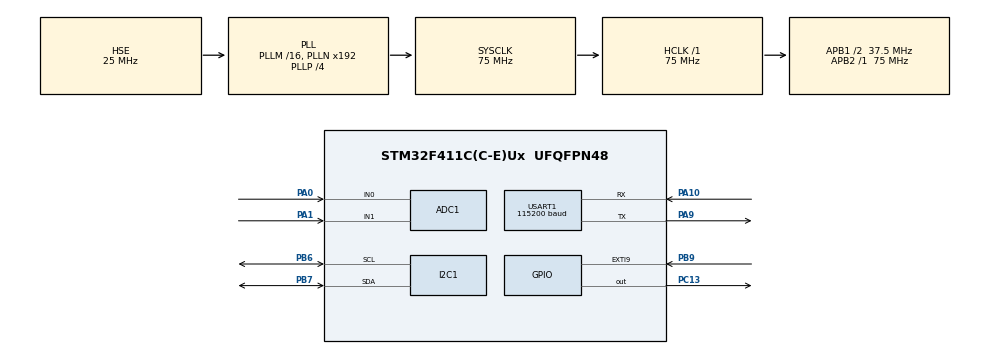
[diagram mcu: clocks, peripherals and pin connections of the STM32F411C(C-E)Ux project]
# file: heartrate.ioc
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ADC1.Channel-0\#ChannelRegularConversion=ADC_CHANNEL_0
ADC1.Channel-1\#ChannelRegularConversion=ADC_CHANNEL_1
ADC1.ContinuousConvMode=ENABLE
ADC1.NbrOfConversion=2
ADC1.NbrOfConversionFlag=1
ADC1.Rank-0\#ChannelRegularConversion=1
ADC1.Rank-1\#ChannelRegularConversion=2
ADC1.SamplingTime-0\#ChannelRegularConversion=ADC_SAMPLETIME_3CYCLES
ADC1.SamplingTime-1\#ChannelRegularConversion=ADC_SAMPLETIME_15CYCLES
ADC1.ScanConvMode=ENABLE
ADC1.master=1
I2C1.I2C_Mode=I2C_Standard
Mcu.Family=STM32F4
Mcu.Name=STM32F411C(C-E)Ux
Mcu.Package=UFQFPN48
NVIC.I2C1_ER_IRQn=true\:0\:0\:false\:false\:true\:true\:true\:true
NVIC.I2C1_EV_IRQn=true\:0\:0\:false\:false\:true\:true\:true\:true
NVIC.PriorityGroup=NVIC_PRIORITYGROUP_4
NVIC.USART1_IRQn=true\:0\:0\:false\:false\:true\:true\:true\:true
PA0-WKUP.Signal=ADCx_IN0
PA1.Signal=ADCx_IN1
PA10.Mode=Asynchronous
PA10.Signal=USART1_RX
PA9.Mode=Asynchronous
PA9.Signal=USART1_TX
PB6.Mode=I2C
PB6.Signal=I2C1_SCL
PB7.Mode=I2C
PB7.Signal=I2C1_SDA
PB9.Signal=GPXTI9
PC13-ANTI_TAMP.Signal=GPIO_Output
PH0\ -\ OSC_IN.Mode=HSE-External-Oscillator
PH0\ -\ OSC_IN.Signal=RCC_OSC_IN
PH1\ -\ OSC_OUT.Mode=HSE-External-Oscillator
PH1\ -\ OSC_OUT.Signal=RCC_OSC_OUT
ProjectManager.HeapSize=0x200
ProjectManager.StackSize=0x400
ProjectManager.TargetToolchain=STM32CubeIDE
RCC.48MHZClocksFreq_Value=75000000
RCC.AHBFreq_Value=75000000
RCC.APB1CLKDivider=RCC_HCLK_DIV2
RCC.APB1Freq_Value=37500000
RCC.APB1TimFreq_Value=75000000
RCC.APB2Freq_Value=75000000
RCC.APB2TimFreq_Value=75000000
RCC.CortexFreq_Value=75000000
RCC.HCLKFreq_Value=75000000
RCC.HSE_VALUE=25000000
RCC.HSI_VALUE=16000000
RCC.LSE_VALUE=32768
RCC.PLLP=RCC_PLLP_DIV4
RCC.PLLSourceVirtual=RCC_PLLSOURCE_HSE
RCC.SYSCLKFreq_VALUE=75000000
RCC.SYSCLKSource=RCC_SYSCLKSOURCE_PLLCLK
RCC.VCOOutputFreq_Value=300000000
SH.ADCx_IN0.0=ADC1_IN0,IN0
SH.ADCx_IN1.0=ADC1_IN1,IN1
USART1.BaudRate=115200
USART1.VirtualMode=VM_ASYNC
board=custom

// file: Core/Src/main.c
/* USER CODE BEGIN Header */
/**
  ******************************************************************************
  * @file           : main.c
  * @brief          : Main program body
  ******************************************************************************
  * @attention
  *
  * Copyright (c) 2024 STMicroelectronics.
  * All rights reserved.
  *
  * This software is licensed under terms that can be found in the LICENSE file
  * in the root directory of this software component.
  * If no LICENSE file comes with this software, it is provided AS-IS.
  *
  ******************************************************************************
  */
/* USER CODE END Header */
#include "main.h"

/* USER CODE BEGIN Includes */
#include <string.h>

#include <stdio.h>
#include "max30102_for_stm32_hal.h"
/* USER CODE END Includes */

ADC_HandleTypeDef hadc1;

I2C_HandleTypeDef hi2c1;

UART_HandleTypeDef huart1;

/* USER CODE BEGIN PV */
int __io_putchar(int ch)
{
  uint8_t temp = ch;
  HAL_UART_Transmit(&huart1, &temp, 1, HAL_MAX_DELAY);
  return ch;
}

// Override plot function
void max30102_plot(uint32_t ir_sample, uint32_t red_sample)
{
    // printf("ir:%u\n", ir_sample);                  // Print IR only
    // printf("r:%u\n", red_sample);                  // Print Red only
    printf("ir:%u,r:%u\n", ir_sample, red_sample); // Print IR and Red

}

// MAX30102 object
max30102_t max30102;
/* USER CODE END PV */

void SystemClock_Config(void);
static void MX_GPIO_Init(void);
static void MX_I2C1_Init(void);
static void MX_USART1_UART_Init(void);
static void MX_ADC1_Init(void);

/* USER CODE BEGIN 0 */
void ADC_Select_CH0(void){
	ADC_ChannelConfTypeDef sConfig = {0};
	  sConfig.Channel = ADC_CHANNEL_0;
	  sConfig.Rank = 1;
	  sConfig.SamplingTime = ADC_SAMPLETIME_3CYCLES;
	  if (HAL_ADC_ConfigChannel(&hadc1, &sConfig) != HAL_OK)
	  {
	    Error_Handler();
	  }

}
void ADC_Select_CH1(void){
	ADC_ChannelConfTypeDef sConfig = {0};
	 sConfig.Channel = ADC_CHANNEL_1;
	  sConfig.Rank = 2;
	  sConfig.SamplingTime = ADC_SAMPLETIME_15CYCLES;
	  if (HAL_ADC_ConfigChannel(&hadc1, &sConfig) != HAL_OK)
	  {
	    Error_Handler();
	  }

}
/* USER CODE END 0 */

int main(void)
{

  /* MCU Configuration--------------------------------------------------------*/

  /* Reset of all peripherals, Initializes the Flash interface and the Systick. */
  HAL_Init();

  /* Configure the system clock */
  SystemClock_Config();

  /* Initialize all configured peripherals */
  MX_GPIO_Init();
  MX_I2C1_Init();
  MX_USART1_UART_Init();
  MX_ADC1_Init();
  /* USER CODE BEGIN 2 */
  max30102_init(&max30102, &hi2c1);
  max30102_reset(&max30102);
  max30102_clear_fifo(&max30102);
  max30102_set_fifo_config(&max30102, max30102_smp_ave_8, 1, 7);

  // Sensor settings
  max30102_set_led_pulse_width(&max30102, max30102_pw_16_bit);
  max30102_set_adc_resolution(&max30102, max30102_adc_2048);
  max30102_set_sampling_rate(&max30102, max30102_sr_800);
  max30102_set_led_current_1(&max30102, 6.2);
  max30102_set_led_current_2(&max30102, 6.2);

  // Enter SpO2 mode
  max30102_set_mode(&max30102, max30102_spo2);
  max30102_set_a_full(&max30102, 1);

  // Initiate 1 temperature measurement
  max30102_set_die_temp_en(&max30102, 1);
  max30102_set_die_temp_rdy(&max30102, 1);

  uint8_t en_reg[2] = {0};
  max30102_read(&max30102, 0x00, en_reg, 1);
  uint16_t adc_val[2];

  /* USER CODE END 2 */

  /* Infinite loop */
  /* USER CODE BEGIN WHILE */
  while (1)
  {
	  ADC_Select_CH1();
	  	      	  	         HAL_ADC_Start(&hadc1);
	  	      	  	      	   	HAL_ADC_PollForConversion(&hadc1, 100);

	  	      	  	      	   	adc_val[2]= HAL_ADC_GetValue(&hadc1);
	  	      	  	      	   	HAL_ADC_Stop(&hadc1);
	  	      	  	      	HAL_UART_Transmit(&huart1, "GLUCOSE: ", 9, 10);
	  	      	  	      	   print_char(adc_val[1]);
	  	      	   	HAL_GPIO_TogglePin(GPIOC, GPIO_PIN_13);
	  // Get the last calculated heart rate
	  if (max30102_has_interrupt(&max30102))
	      {
	        max30102_interrupt_handler(&max30102);
	      }

	  float heartRate = max30102_get_last_heart_rate(&max30102);
	         // Get the last calculated SpO2
	         float spo2 = max30102_get_last_spO2(&max30102);

	         // Print heart rate and SpO2 to UART
	         printHeartRateAndSpO2(heartRate, spo2);

	         // Delay for a short period to avoid overwhelming the UART
	         HAL_Delay(1000);
	         ADC_Select_CH0();
	         HAL_ADC_Start(&hadc1);
	      	   	HAL_ADC_PollForConversion(&hadc1, 100);

	      	   	adc_val[1]= HAL_ADC_GetValue(&hadc1);
	      	   	HAL_ADC_Stop(&hadc1);
	      	   	temp_conv(adc_val[1]);
	      	   	HAL_Delay(1000);

    /* USER CODE END WHILE */

  }
}

void SystemClock_Config(void)
{
  RCC_OscInitTypeDef RCC_OscInitStruct = {0};
  RCC_ClkInitTypeDef RCC_ClkInitStruct = {0};

  /** Configure the main internal regulator output voltage
  */
  __HAL_RCC_PWR_CLK_ENABLE();
  __HAL_PWR_VOLTAGESCALING_CONFIG(PWR_REGULATOR_VOLTAGE_SCALE1);

  /** Initializes the RCC Oscillators according to the specified parameters
  * in the RCC_OscInitTypeDef structure.
  */
  RCC_OscInitStruct.OscillatorType = RCC_OSCILLATORTYPE_HSE;
  RCC_OscInitStruct.HSEState = RCC_HSE_ON;
  RCC_OscInitStruct.PLL.PLLState = RCC_PLL_ON;
  RCC_OscInitStruct.PLL.PLLSource = RCC_PLLSOURCE_HSE;
  RCC_OscInitStruct.PLL.PLLM = 16;
  RCC_OscInitStruct.PLL.PLLN = 192;
  RCC_OscInitStruct.PLL.PLLP = RCC_PLLP_DIV4;
  RCC_OscInitStruct.PLL.PLLQ = 4;
  if (HAL_RCC_OscConfig(&RCC_OscInitStruct) != HAL_OK)
  {
    Error_Handler();
  }

  /** Initializes the CPU, AHB and APB buses clocks
  */
  RCC_ClkInitStruct.ClockType = RCC_CLOCKTYPE_HCLK|RCC_CLOCKTYPE_SYSCLK
                              |RCC_CLOCKTYPE_PCLK1|RCC_CLOCKTYPE_PCLK2;
  RCC_ClkInitStruct.SYSCLKSource = RCC_SYSCLKSOURCE_PLLCLK;
  RCC_ClkInitStruct.AHBCLKDivider = RCC_SYSCLK_DIV1;
  RCC_ClkInitStruct.APB1CLKDivider = RCC_HCLK_DIV2;
  RCC_ClkInitStruct.APB2CLKDivider = RCC_HCLK_DIV1;

  if (HAL_RCC_ClockConfig(&RCC_ClkInitStruct, FLASH_LATENCY_2) != HAL_OK)
  {
    Error_Handler();
  }
}

static void MX_ADC1_Init(void)
{

  ADC_ChannelConfTypeDef sConfig = {0};

  /** Configure the global features of the ADC (Clock, Resolution, Data Alignment and number of conversion)
  */
  hadc1.Instance = ADC1;
  hadc1.Init.ClockPrescaler = ADC_CLOCK_SYNC_PCLK_DIV4;
  hadc1.Init.Resolution = ADC_RESOLUTION_12B;
  hadc1.Init.ScanConvMode = ENABLE;
  hadc1.Init.ContinuousConvMode = ENABLE;
  hadc1.Init.DiscontinuousConvMode = DISABLE;
  hadc1.Init.ExternalTrigConvEdge = ADC_EXTERNALTRIGCONVEDGE_NONE;
  hadc1.Init.ExternalTrigConv = ADC_SOFTWARE_START;
  hadc1.Init.DataAlign = ADC_DATAALIGN_RIGHT;
  hadc1.Init.NbrOfConversion = 2;
  hadc1.Init.DMAContinuousRequests = DISABLE;
  hadc1.Init.EOCSelection = ADC_EOC_SINGLE_CONV;
  if (HAL_ADC_Init(&hadc1) != HAL_OK)
  {
    Error_Handler();
  }

  /** Configure for the selected ADC regular channel its corresponding rank in the sequencer and its sample time.
  */
  sConfig.Channel = ADC_CHANNEL_0;
  sConfig.Rank = 1;
  sConfig.SamplingTime = ADC_SAMPLETIME_3CYCLES;
  if (HAL_ADC_ConfigChannel(&hadc1, &sConfig) != HAL_OK)
  {
    Error_Handler();
  }

  /** Configure for the selected ADC regular channel its corresponding rank in the sequencer and its sample time.
  */
  sConfig.Channel = ADC_CHANNEL_1;
  sConfig.Rank = 2;
  sConfig.SamplingTime = ADC_SAMPLETIME_15CYCLES;
  if (HAL_ADC_ConfigChannel(&hadc1, &sConfig) != HAL_OK)
  {
    Error_Handler();
  }

}

static void MX_I2C1_Init(void)
{

  hi2c1.Instance = I2C1;
  hi2c1.Init.ClockSpeed = 100000;
  hi2c1.Init.DutyCycle = I2C_DUTYCYCLE_2;
  hi2c1.Init.OwnAddress1 = 0;
  hi2c1.Init.AddressingMode = I2C_ADDRESSINGMODE_7BIT;
  hi2c1.Init.DualAddressMode = I2C_DUALADDRESS_DISABLE;
  hi2c1.Init.OwnAddress2 = 0;
  hi2c1.Init.GeneralCallMode = I2C_GENERALCALL_DISABLE;
  hi2c1.Init.NoStretchMode = I2C_NOSTRETCH_DISABLE;
  if (HAL_I2C_Init(&hi2c1) != HAL_OK)
  {
    Error_Handler();
  }

}

static void MX_USART1_UART_Init(void)
{

  huart1.Instance = USART1;
  huart1.Init.BaudRate = 115200;
  huart1.Init.WordLength = UART_WORDLENGTH_8B;
  huart1.Init.StopBits = UART_STOPBITS_1;
  huart1.Init.Parity = UART_PARITY_NONE;
  huart1.Init.Mode = UART_MODE_TX_RX;
  huart1.Init.HwFlowCtl = UART_HWCONTROL_NONE;
  huart1.Init.OverSampling = UART_OVERSAMPLING_16;
  if (HAL_UART_Init(&huart1) != HAL_OK)
  {
    Error_Handler();
  }

}

static void MX_GPIO_Init(void)
{
  GPIO_InitTypeDef GPIO_InitStruct = {0};

  /* GPIO Ports Clock Enable */
  __HAL_RCC_GPIOC_CLK_ENABLE();
  __HAL_RCC_GPIOH_CLK_ENABLE();
  __HAL_RCC_GPIOA_CLK_ENABLE();
  __HAL_RCC_GPIOB_CLK_ENABLE();

  /*Configure GPIO pin Output Level */
  HAL_GPIO_WritePin(GPIOC, GPIO_PIN_13, GPIO_PIN_RESET);

  /*Configure GPIO pin : PC13 */
  GPIO_InitStruct.Pin = GPIO_PIN_13;
  GPIO_InitStruct.Mode = GPIO_MODE_OUTPUT_PP;
  GPIO_InitStruct.Pull = GPIO_NOPULL;
  GPIO_InitStruct.Speed = GPIO_SPEED_FREQ_LOW;
  HAL_GPIO_Init(GPIOC, &GPIO_InitStruct);

  /*Configure GPIO pin : PB9 */
  GPIO_InitStruct.Pin = GPIO_PIN_9;
  GPIO_InitStruct.Mode = GPIO_MODE_IT_RISING;
  GPIO_InitStruct.Pull = GPIO_NOPULL;
  HAL_GPIO_Init(GPIOB, &GPIO_InitStruct);

/* USER CODE BEGIN MX_GPIO_Init_2 */
  HAL_NVIC_SetPriority(EXTI9_5_IRQn, 0, 0);
   HAL_NVIC_EnableIRQ(EXTI9_5_IRQn);
/* USER CODE END MX_GPIO_Init_2 */
}

/* USER CODE BEGIN 4 */
void printHeartRateAndSpO2(float heartRate, float spo2)
{
    char buffer[100];

    int len = snprintf(buffer, sizeof(buffer), "Heart Rate: %d bpm, SpO2: %d%%\r\n", heartRate, spo2);
    if (len < 0)
    {
        // Error handling: snprintf failed
        return;
    }
    HAL_UART_Transmit(&huart1, (uint8_t *)buffer, len, HAL_MAX_DELAY);
}
void temp_conv(uint16_t tempvar)
{
	uint32_t var=0;
	var=(tempvar*8.05);
	HAL_UART_Transmit(&huart1, "temp: ", 6, 10);
	print_char(var);

}
void print_char(uint32_t num_var) {
    uint8_t char_num_var[] = "0000000\r\n"; // Initialize as string
    uint8_t i = 6; // Index of least significant digit in char_num_var

    // Convert digits of num_var to ASCII characters
    do {
        i--; // Decrement index
        if (i == 3) {
            char_num_var[i] = '.'; // Insert '.' at index 3
            i--; // Decrement index
        }
        char_num_var[i] = (num_var % 10) + '0'; // Convert digit to ASCII and store
        num_var /= 10; // Remove least significant digit
    } while (num_var != 0 && i > 0); // Continue until num_var is 0 or array is full

    // Transmit the string via UART
    HAL_UART_Transmit(&huart1, char_num_var, 8, 15);
    HAL_Delay(1);
}

/* USER CODE END 4 */

void Error_Handler(void)
{
  __disable_irq();
  while (1)
  {
  }
}
